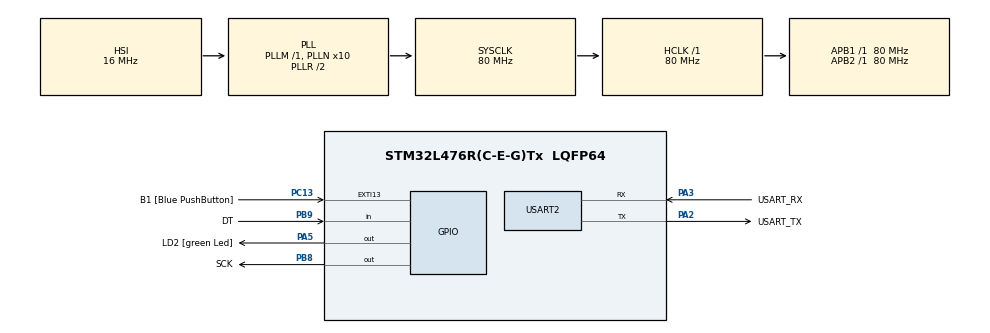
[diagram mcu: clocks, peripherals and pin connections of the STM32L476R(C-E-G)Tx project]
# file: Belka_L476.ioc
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Mcu.Family=STM32L4
Mcu.Name=STM32L476R(C-E-G)Tx
Mcu.Package=LQFP64
NVIC.PriorityGroup=NVIC_PRIORITYGROUP_4
PA13\ (JTMS-SWDIO).GPIO_Label=TMS
PA13\ (JTMS-SWDIO).Mode=Serial_Wire
PA13\ (JTMS-SWDIO).Signal=SYS_JTMS-SWDIO
PA14\ (JTCK-SWCLK).GPIO_Label=TCK
PA14\ (JTCK-SWCLK).Mode=Serial_Wire
PA14\ (JTCK-SWCLK).Signal=SYS_JTCK-SWCLK
PA2.GPIO_Label=USART_TX
PA2.GPIO_Mode=GPIO_MODE_AF_PP
PA2.GPIO_PuPd=GPIO_NOPULL
PA2.GPIO_Speed=GPIO_SPEED_FREQ_VERY_HIGH
PA2.Mode=Asynchronous
PA2.Signal=USART2_TX
PA3.GPIO_Label=USART_RX
PA3.GPIO_Mode=GPIO_MODE_AF_PP
PA3.GPIO_PuPd=GPIO_NOPULL
PA3.GPIO_Speed=GPIO_SPEED_FREQ_VERY_HIGH
PA3.Mode=Asynchronous
PA3.Signal=USART2_RX
PA5.GPIO_Label=LD2 [green Led]
PA5.GPIO_ModeDefaultOutputPP=GPIO_MODE_OUTPUT_PP
PA5.GPIO_PuPd=GPIO_NOPULL
PA5.GPIO_Speed=GPIO_SPEED_FREQ_LOW
PA5.Signal=GPIO_Output
PB3\ (JTDO-TRACESWO).GPIO_Label=SWO
PB3\ (JTDO-TRACESWO).Signal=SYS_JTDO-SWO
PB8.GPIO_Label=SCK
PB8.Signal=GPIO_Output
PB9.GPIO_Label=DT
PB9.Signal=GPIO_Input
PC13.GPIO_Label=B1 [Blue PushButton]
PC13.GPIO_ModeDefaultEXTI=GPIO_MODE_IT_FALLING
PC13.GPIO_PuPd=GPIO_NOPULL
PC13.Signal=GPXTI13
PC14-OSC32_IN\ (PC14).Mode=LSE-External-Oscillator
PC14-OSC32_IN\ (PC14).Signal=RCC_OSC32_IN
PC15-OSC32_OUT\ (PC15).Mode=LSE-External-Oscillator
PC15-OSC32_OUT\ (PC15).Signal=RCC_OSC32_OUT
PH0-OSC_IN\ (PH0).Signal=RCC_OSC_IN
PH1-OSC_OUT\ (PH1).Signal=RCC_OSC_OUT
ProjectManager.HeapSize=0x200
ProjectManager.StackSize=0x400
ProjectManager.TargetToolchain=STM32CubeIDE
RCC.ADCFreq_Value=64000000
RCC.AHBFreq_Value=80000000
RCC.APB1Freq_Value=80000000
RCC.APB1TimFreq_Value=80000000
RCC.APB2Freq_Value=80000000
RCC.APB2TimFreq_Value=80000000
RCC.CortexFreq_Value=80000000
RCC.HCLKFreq_Value=80000000
RCC.HSE_VALUE=8000000
RCC.HSI_VALUE=16000000
RCC.MSI_VALUE=4000000
RCC.PLLN=10
RCC.PLLSourceVirtual=RCC_PLLSOURCE_HSI
RCC.PREFETCH_ENABLE=1
RCC.SYSCLKFreq_VALUE=80000000
RCC.SYSCLKSource=RCC_SYSCLKSOURCE_PLLCLK
RCC.USBFreq_Value=64000000
RCC.VCOOutputFreq_Value=160000000
USART2.VirtualMode-Asynchronous=VM_ASYNC
board=NUCLEO-L476RG

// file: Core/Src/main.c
/* USER CODE BEGIN Header */
/**
  ******************************************************************************
  * @file           : main.c
  * @brief          : Main program body
  ******************************************************************************
  * @attention
  *
  * Copyright (c) 2024 STMicroelectronics.
  * All rights reserved.
  *
  * This software is licensed under terms that can be found in the LICENSE file
  * in the root directory of this software component.
  * If no LICENSE file comes with this software, it is provided AS-IS.
  *
  ******************************************************************************
  Biblioteka https://github.com/PCov3r/HX711-STM32-Library/tree/main

  SCK - PB8 // GPIO OUTPUT
  DT - PB9 // GPIO INPUT

  */
/* USER CODE END Header */
#include "main.h"

/* USER CODE BEGIN Includes */
#include "HX711.h"
#include "stdlib.h"
/* USER CODE END Includes */

UART_HandleTypeDef huart2;

/* USER CODE BEGIN PV */
hx711_t hx711;
hx711_t hx711b;
float waga=0;
/* USER CODE END PV */

void SystemClock_Config(void);
static void MX_GPIO_Init(void);
static void MX_USART2_UART_Init(void);

/* USER CODE BEGIN 0 */
float measure_weight(hx711_t , hx711_t);
void init_weight(hx711_t *);
/* USER CODE END 0 */

int main(void)
{

  /* MCU Configuration--------------------------------------------------------*/

  /* Reset of all peripherals, Initializes the Flash interface and the Systick. */
  HAL_Init();

  /* USER CODE BEGIN Init */
  //HAL_UART_Init(&huart2);
  /* USER CODE END Init */

  /* Configure the system clock */
  SystemClock_Config();

  /* Initialize all configured peripherals */
  MX_GPIO_Init();
  MX_USART2_UART_Init();
  /* USER CODE BEGIN 2 */
  init_weight(&hx711);
  /* USER CODE END 2 */

  /* Infinite loop */
  while (1)
  {

    /* USER CODE BEGIN 3 */
	  char buffer[128] = {0};

	  sprintf(buffer,"Wykonuje pomiar\n\r");
	  HAL_UART_Transmit(&huart2, (uint8_t *)(buffer), sizeof(buffer), 100);
	  waga = measure_weight(hx711, hx711);
	  HAL_Delay(1);
  }
  /* USER CODE END 3 */
}

void SystemClock_Config(void)
{
  RCC_OscInitTypeDef RCC_OscInitStruct = {0};
  RCC_ClkInitTypeDef RCC_ClkInitStruct = {0};

  /** Configure the main internal regulator output voltage
  */
  if (HAL_PWREx_ControlVoltageScaling(PWR_REGULATOR_VOLTAGE_SCALE1) != HAL_OK)
  {
    Error_Handler();
  }

  /** Initializes the RCC Oscillators according to the specified parameters
  * in the RCC_OscInitTypeDef structure.
  */
  RCC_OscInitStruct.OscillatorType = RCC_OSCILLATORTYPE_HSI;
  RCC_OscInitStruct.HSIState = RCC_HSI_ON;
  RCC_OscInitStruct.HSICalibrationValue = RCC_HSICALIBRATION_DEFAULT;
  RCC_OscInitStruct.PLL.PLLState = RCC_PLL_ON;
  RCC_OscInitStruct.PLL.PLLSource = RCC_PLLSOURCE_HSI;
  RCC_OscInitStruct.PLL.PLLM = 1;
  RCC_OscInitStruct.PLL.PLLN = 10;
  RCC_OscInitStruct.PLL.PLLP = RCC_PLLP_DIV7;
  RCC_OscInitStruct.PLL.PLLQ = RCC_PLLQ_DIV2;
  RCC_OscInitStruct.PLL.PLLR = RCC_PLLR_DIV2;
  if (HAL_RCC_OscConfig(&RCC_OscInitStruct) != HAL_OK)
  {
    Error_Handler();
  }

  /** Initializes the CPU, AHB and APB buses clocks
  */
  RCC_ClkInitStruct.ClockType = RCC_CLOCKTYPE_HCLK|RCC_CLOCKTYPE_SYSCLK
                              |RCC_CLOCKTYPE_PCLK1|RCC_CLOCKTYPE_PCLK2;
  RCC_ClkInitStruct.SYSCLKSource = RCC_SYSCLKSOURCE_PLLCLK;
  RCC_ClkInitStruct.AHBCLKDivider = RCC_SYSCLK_DIV1;
  RCC_ClkInitStruct.APB1CLKDivider = RCC_HCLK_DIV1;
  RCC_ClkInitStruct.APB2CLKDivider = RCC_HCLK_DIV1;

  if (HAL_RCC_ClockConfig(&RCC_ClkInitStruct, FLASH_LATENCY_4) != HAL_OK)
  {
    Error_Handler();
  }
}

static void MX_USART2_UART_Init(void)
{

  huart2.Instance = USART2;
  huart2.Init.BaudRate = 115200;
  huart2.Init.WordLength = UART_WORDLENGTH_8B;
  huart2.Init.StopBits = UART_STOPBITS_1;
  huart2.Init.Parity = UART_PARITY_NONE;
  huart2.Init.Mode = UART_MODE_TX_RX;
  huart2.Init.HwFlowCtl = UART_HWCONTROL_NONE;
  huart2.Init.OverSampling = UART_OVERSAMPLING_16;
  huart2.Init.OneBitSampling = UART_ONE_BIT_SAMPLE_DISABLE;
  huart2.AdvancedInit.AdvFeatureInit = UART_ADVFEATURE_NO_INIT;
  if (HAL_UART_Init(&huart2) != HAL_OK)
  {
    Error_Handler();
  }

}

static void MX_GPIO_Init(void)
{
  GPIO_InitTypeDef GPIO_InitStruct = {0};

  /* GPIO Ports Clock Enable */
  __HAL_RCC_GPIOC_CLK_ENABLE();
  __HAL_RCC_GPIOH_CLK_ENABLE();
  __HAL_RCC_GPIOA_CLK_ENABLE();
  __HAL_RCC_GPIOB_CLK_ENABLE();

  /*Configure GPIO pin Output Level */
  HAL_GPIO_WritePin(LD2_GPIO_Port, LD2_Pin, GPIO_PIN_RESET);

  /*Configure GPIO pin Output Level */
  HAL_GPIO_WritePin(SCK_GPIO_Port, SCK_Pin, GPIO_PIN_RESET);

  /*Configure GPIO pin : B1_Pin */
  GPIO_InitStruct.Pin = B1_Pin;
  GPIO_InitStruct.Mode = GPIO_MODE_IT_FALLING;
  GPIO_InitStruct.Pull = GPIO_NOPULL;
  HAL_GPIO_Init(B1_GPIO_Port, &GPIO_InitStruct);

  /*Configure GPIO pin : LD2_Pin */
  GPIO_InitStruct.Pin = LD2_Pin;
  GPIO_InitStruct.Mode = GPIO_MODE_OUTPUT_PP;
  GPIO_InitStruct.Pull = GPIO_NOPULL;
  GPIO_InitStruct.Speed = GPIO_SPEED_FREQ_LOW;
  HAL_GPIO_Init(LD2_GPIO_Port, &GPIO_InitStruct);

  /*Configure GPIO pin : SCK_Pin */
  GPIO_InitStruct.Pin = SCK_Pin;
  GPIO_InitStruct.Mode = GPIO_MODE_OUTPUT_PP;
  GPIO_InitStruct.Pull = GPIO_NOPULL;
  GPIO_InitStruct.Speed = GPIO_SPEED_FREQ_LOW;
  HAL_GPIO_Init(SCK_GPIO_Port, &GPIO_InitStruct);

  /*Configure GPIO pin : DT_Pin */
  GPIO_InitStruct.Pin = DT_Pin;
  GPIO_InitStruct.Mode = GPIO_MODE_INPUT;
  GPIO_InitStruct.Pull = GPIO_NOPULL;
  HAL_GPIO_Init(DT_GPIO_Port, &GPIO_InitStruct);

}

/* USER CODE BEGIN 4 */
void init_weight(hx711_t *hx711){
	char buffer[128] = {0};

	sprintf(buffer,"HX711 initialization\n\r");
	HAL_UART_Transmit(&huart2, (uint8_t *)(buffer), sizeof(buffer), 100);

	/* Initialize the hx711 sensors */
	hx711_init(hx711, SCK_GPIO_Port, SCK_Pin, DT_GPIO_Port, DT_Pin);

	/* Configure gain for each channel (see datasheet for details) */
	set_gain(hx711, 128, 32); //128, 32

	/* Set HX711 scaling factor (see README for procedure) */
	set_scale(hx711, 1096, -10.98); //-44.25, -10.98

	/* Tare weight */
	tare_all(hx711, 10);

	sprintf(buffer,"HX711 module has been initialized\n\r");
	HAL_UART_Transmit(&huart2, (uint8_t *)(buffer), sizeof(buffer), 100);
}

float measure_weight(hx711_t hx711, hx711_t hx711b){
	long weightA = 0;
	long weightB = 0;

	// Measure the weight for channel A
	weightA = get_weight(&hx711, 10, CHANNEL_A);
	// Weight cannot be negative
	weightA = (weightA < 0) ? 0 : weightA;

	// Measure the weight for channel B
	weightB = get_weight(&hx711, 10, CHANNEL_B);
	// Weight cannot be negative
	weightB = (weightB < 0) ? 0 : weightB;

	char buffer[128] = {0};

	sprintf(buffer,"Waga %.2f \n\r", (float) weightA);
	HAL_UART_Transmit(&huart2, (uint8_t *)(buffer), sizeof(buffer), 100);

	return weightA;
}
/* USER CODE END 4 */

void Error_Handler(void)
{
  __disable_irq();
  while (1)
  {
  }
}
